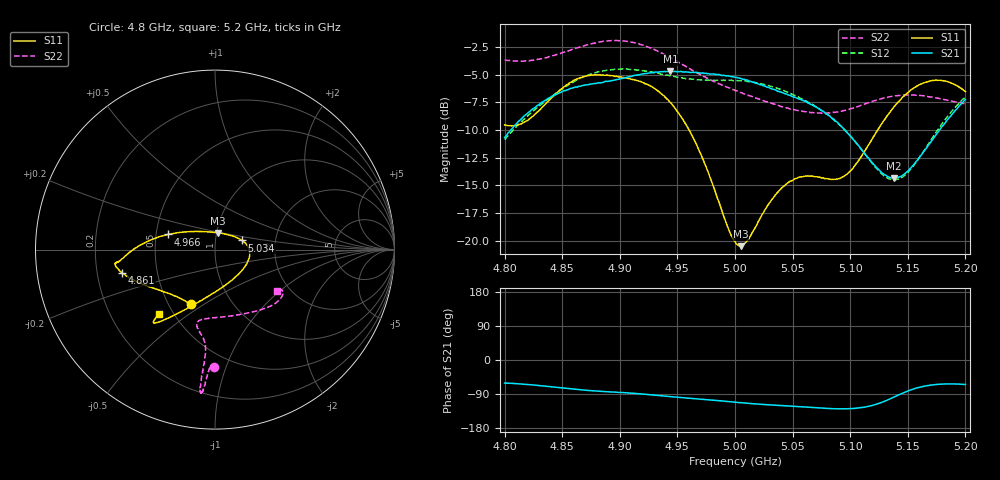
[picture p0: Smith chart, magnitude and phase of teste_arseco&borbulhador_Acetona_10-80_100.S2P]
! Network Analyzer HP8722D
! Hewlett-Packard
! Data name: Linha & Wilkinson
! Saver's name: Rodrigo Anjos
! Comments: Teste da utilização de aquisição
! continua pelo VNA HP8722D
! Time and date: 17/4/2025 15:11
!  Frequency  S11  S21  S12  S22
# HZ  S  MA R 50
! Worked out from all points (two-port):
!   401 points, 4.8 GHz to 5.2 GHz, reference 50 ohm
!   highest |S21| = -4.68 dB at 4.944 GHz (marker M1); lowest = -14.3 dB at 5.138 GHz (marker M2)
!   |S21| within 3 dB of the highest: 4.83 GHz to 5.066 GHz (235.7 MHz wide, 4.76 % of centre); 5.195973 GHz to end of sweep
!   lowest |S11| = -20.5 dB at 5.005 GHz (marker M3), VSWR 1.21, Z = 50.5 + j9.52 ohm
!   |S11| at or under -10 dB: 4.96 GHz to 5.124 GHz (163.6 MHz wide, 3.24 % of centre)
!   |S22| runs from -8.5 to -1.9 dB; largest |S21 - S12| = 0.88
!   S11 on the Smith chart (normalised r, x): 4.8 GHz: 0.64, -0.44; 4.861 GHz: 0.31, -0.11; 4.966 GHz: 0.58, +0.11; 5.034 GHz: 1.34, +0.14; 5.2 GHz: 0.42, -0.39
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4.8e9  0.3341 -113.8  0.2929 -61.0  0.2863 -175.3  0.6564 -90.3
4.819e9  0.3481 -133.9  0.3728 -64.5  0.3621 -173.9  0.6515 -91.8
4.861e9  0.5334 -165.8  0.4936 -77.3  0.5261 -177.1  0.7375 -94.2
4.867e9  0.5485 -168.1  0.5026 -79.1  0.5456 -178.1  0.7564 -94.3
4.899e9  0.5506 -172.7  0.5365 -85.6  0.5954 175.3  0.8021 -95.6
4.934e9  0.4719 -178.5  0.5792 -93.9  0.5711 171.6  0.7154 -96.0
4.944e9  0.4215 176.9  0.5838 -96.6  0.5567 171.6  0.6722 -95.8
4.966e9  0.276 162.2  0.5772 -102.2  0.5351 173.6  0.5772 -95.2
5e9  0.09893 99.6  0.5484 -111.4  0.5302 175.9  0.4778 -99.3
5.005e9  0.09442 81.4  0.5414 -112.6  0.529 175.7  0.4669 -100.4
5.012e9  0.1018 58.5  0.5269 -114.5  0.5233 175.6  0.453 -102.1
5.034e9  0.158 18.9  0.4824 -119.4  0.4941 174.6  0.4149 -103.5
5.05e9  0.1874 3.0  0.4481 -122.1  0.4581 173.8  0.3931 -99.3
5.067e9  0.1959 -15.1  0.4111 -125.3  0.4143 173.4  0.3799 -90.4
5.087e9  0.1894 -47.4  0.3483 -128.6  0.3474 173.5  0.3807 -75.2
5.097e9  0.199 -67.8  0.3095 -128.7  0.3098 174.6  0.3902 -67.0
5.134e9  0.3783 -117.1  0.1932 -103.4  0.1901 -156.2  0.4472 -43.0
5.138e9  0.4026 -119.4  0.1918 -97.8  0.1878 -149.9  0.4504 -41.2
5.15e9  0.4668 -124.8  0.2061 -81.9  0.2035 -131.5  0.4561 -36.8
5.17e9  0.5282 -129.4  0.2796 -66.1  0.2848 -112.4  0.4466 -32.1
5.185e9  0.5225 -130.7  0.3547 -63.2  0.3669 -107.4  0.4315 -31.3
5.2e9  0.4724 -131.0  0.434 -64.7  0.4464 -106.8  0.4157 -33.5
